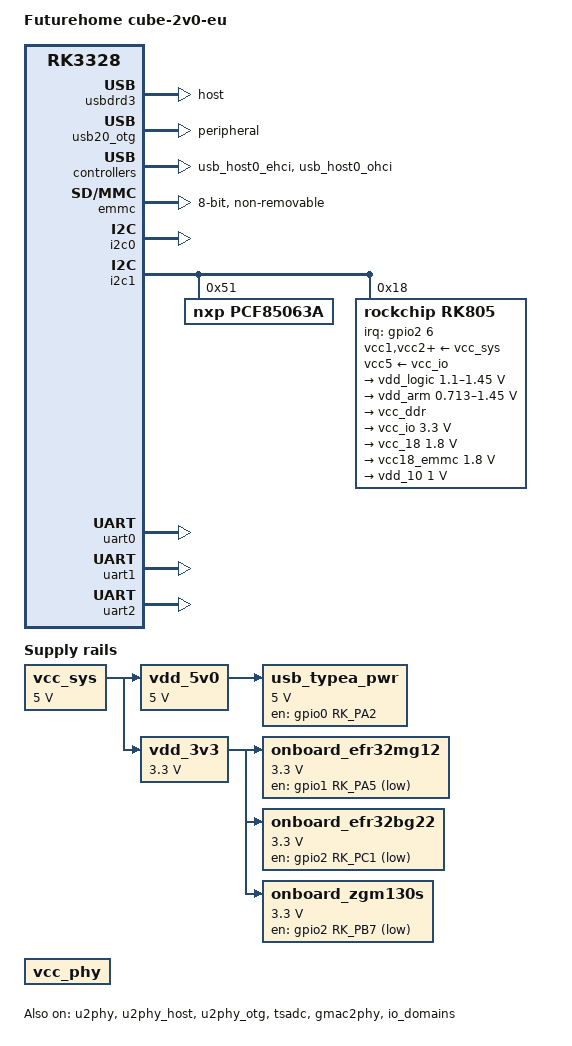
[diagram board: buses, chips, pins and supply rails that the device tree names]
// SPDX-License-Identifier: (GPL-2.0+ OR MIT)
/* Some of this file, mostly the rk808 section and some regulator definitions
 * is either borrowed from or based on free and open source works by 
 * Fuzhou Rockchip Electronics Co., Ltd and Armbian developers.
 */
/dts-v1/;
#include <dt-bindings/pinctrl/rockchip.h>
#include <dt-bindings/soc/rockchip,boot-mode.h>

#include "rk3328.dtsi"

/ {
    model = "Futurehome cube-2v0-eu";
    compatible = "futurehome,cube-2v0-eu", "rockchip,rk3328";

    aliases {
        ethernet0 = &gmac2phy;
		mmc0 = &emmc;
	};

    chosen {
		stdout-path = "serial2:1500000n8";
	};

	smbios {
		compatible = "u-boot,sysinfo-smbios";
		
        smbios {
			system {
				manufacturer = "Futurehome";
                family = "Smarthub";
				product = "cube-2v0-eu";
			};

			baseboard {
				manufacturer = "Dusun";
				product = "CDGW-001 (DSOM-010R SoM, RK3328)";
			};

			chassis {
				manufacturer = "Dusun";
				product = "DS339-1/DS339-2";
			};
		};
	};

    vcc_sys: vcc-sys {
		compatible = "regulator-fixed";
		regulator-name = "vcc_sys";
		regulator-always-on;
		regulator-boot-on;
		regulator-min-microvolt = <5000000>;
		regulator-max-microvolt = <5000000>;
	};

	vdd_5v0: vdd-5v0 {
		compatible = "regulator-fixed";
		regulator-name = "vdd_5v0";
		regulator-always-on;
		regulator-boot-on;
		regulator-min-microvolt = <5000000>;
		regulator-max-microvolt = <5000000>;
		vin-supply = <&vcc_sys>;
	};

	vdd_3v3: vdd-3v3 {
		compatible = "regulator-fixed";
		regulator-name = "vdd_3v3";
		regulator-always-on;
		regulator-boot-on;
		regulator-min-microvolt = <3300000>;
		regulator-max-microvolt = <3300000>;
		vin-supply = <&vcc_sys>;
	};

    vcc_phy: vcc-phy-regulator {
		compatible = "regulator-fixed";
		regulator-name = "vcc_phy";
		regulator-always-on;
		regulator-boot-on;
	};

	// Controls power to the dwc3/USB-A port through HM4610H IC
	usb_typea_pwr: usb-typea-regulator {
		compatible = "regulator-fixed";
		regulator-name = "usb_typea_pwr";
		enable-active-high;
		gpio = <&gpio0 RK_PA2 GPIO_ACTIVE_HIGH>;
		regulator-always-on;
		regulator-boot-on;
		vin-supply = <&vdd_5v0>;
		regulator-min-microvolt = <5000000>;
		regulator-max-microvolt = <5000000>;
	};

	onboard_efr32mg12: onboard-efr32mg12 {
		compatible = "regulator-fixed";
		regulator-name = "onboard_efr32mg12";
		vin-supply = <&vdd_3v3>;
		regulator-min-microvolt = <3300000>;
		regulator-max-microvolt = <3300000>;
		regulator-boot-on;
		regulator-always-on;
		
		// This regulator is *actually* active-high. It is just set up this
		// way as a workaround to make sure the chip is disabled by default
		// by not leaving GPIO1_PA5 floating. See/use overlay to enable the
		// chip when the kernel boots.
		gpio = <&gpio1 RK_PA5 GPIO_ACTIVE_LOW>;
		pinctrl-names = "default";
		pinctrl-0 = <&onboard_efr32mg12_unpowered>,
					<&onboard_efr32mg12_reset>,
					<&onboard_efr32mg12_pa4>;
	};

	onboard_efr32bg22: onboard-efr32bg22 {
		compatible = "regulator-fixed";
		regulator-name = "onboard_efr32bg22";
		vin-supply = <&vdd_3v3>;
		regulator-min-microvolt = <3300000>;
		regulator-max-microvolt = <3300000>;
		regulator-boot-on;
		regulator-always-on;

		// This regulator is *actually* active-high. It is just set up this
		// way as a workaround to make sure the chip is disabled by default
		// by not leaving GPIO2_PC1 floating. See/use overlay to enable the
		// chip when the kernel boots.
		gpio = <&gpio2 RK_PC1 GPIO_ACTIVE_LOW>;
		pinctrl-names = "default";
		pinctrl-0 = <&onboard_efr32bg22_unpowered>,
					<&onboard_efr32bg22_reset>;
	};

	onboard_zgm130s: onboard-zgm130s {
		compatible = "regulator-fixed";
		regulator-name = "onboard_zgm130s";
		vin-supply = <&vdd_3v3>;
		regulator-min-microvolt = <3300000>;
		regulator-max-microvolt = <3300000>;
		regulator-boot-on;
		regulator-always-on;

		// This regulator is *actually* active-high. It is just set up this
		// way as a workaround to make sure the chip is disabled by default
		// by not leaving GPIO2_PB7 floating. See/use overlay to enable the
		// chip when the kernel boots.
		gpio = <&gpio2 RK_PB7 GPIO_ACTIVE_LOW>;
		pinctrl-names = "default";
		pinctrl-0 = <&onboard_zgm130s_unpowered>,
					<&onboard_zgm130s_reset>;
	};
};

&gpio0 {
	gpio-line-names =
		/* GPIO0_A0 - A7 */
		"bottom-connector (TP38) [GPIO0_A0]", "", "USB-A power enable", "bottom-connector (TP36) [GPIO0_A3]", "", "", "", "",
		/* GPIO0_B0 - B7 */
		"", "", "", "", "", "", "", "",
		/* GPIO0_C0 - C7 */
		"", "", "", "", "", "", "", "",
		/* GPIO0_D0 - D7 */
		"", "", "", "bottom-connector (TP39) [GPIO0_D3]", "", "", "bottom-connector (TP37) [GPIO0_D6]", "";
};

&gpio1 {
	gpio-line-names =
		/* GPIO1_A0 - A7 */
		"EFR32MG12 nRESET [GPIO1_A0]", "", "", "EFR32MG12 PA4 [GPIO1_A3]", "", "EFR32MG12 power enable [GPIO1_A5]", "", "",
		/* GPIO1_B0 - B7 */
		"", "", "", "", "", "", "", "",
		/* GPIO1_C0 - C7 */
		"", "", "", "", "", "", "", "",
		/* GPIO1_D0 - D7 */
		"", "", "", "", "", "", "", "";
};

&gpio2 {
	gpio-line-names =
		/* GPIO2_A0 - A7 */
		"", "", "",
		"", "", "",
		"", "",
		/* GPIO2_B0 - B7 */
		"", "", "", "", "", "", "", "ZGM130S power enable [GPIO2_B7]",
		/* GPIO2_C0 - C7 */
		"", "EFR32BG22 power enable [GPIO2_C1]", "EFR32BG22 RESETn [GPIO2_C2]",
		"", "", "",
		"", "",
		/* GPIO2_D0 - D7 */
		"", "", "", "", "", "", "", "";
};

&gpio3 {
	gpio-line-names =
		/* GPIO3_A0 - A7 */
		"Function button [GPIO3_A0]", "", "",
		"", "", "", "", "ZGM130S RESET [GPIO3_A7]",
		/* GPIO3_B0 - B7 */
		"", "", "", "", "", "", "", "",
		/* GPIO3_C0 - C7 */
		"", "", "", "", "", "", "", "",
		/* GPIO3_D0 - D7 */
		"", "", "", "", "", "", "", "";
};


&usbdrd3 {
	dr_mode = "host";
	status = "okay";
	portpwr-supply = <&usb_typea_pwr>;
};

&u2phy {
    status = "okay";
};

&u2phy_host {
    status = "okay";
};

&u2phy_otg {
    status = "okay";
};

&usb20_otg {
    status = "okay";
	dr_mode = "peripheral";
};

&usb_host0_ehci {
    status = "okay";
};

&usb_host0_ohci {
    status = "okay";
};

&tsadc {
	status = "okay";
};

&cpu0 {
    cpu-supply = <&vdd_arm>;
};

&cpu1 {
    cpu-supply = <&vdd_arm>;
};

&cpu2 {
    cpu-supply = <&vdd_arm>;
};

&cpu3 {
    cpu-supply = <&vdd_arm>;
};

&emmc {
    bus-width = <8>;
    cap-mmc-highspeed;
    mmc-hs200-1_8v;
    disable-wp;
    non-removable;
    pinctrl-names = "default";
    pinctrl-0 = <&emmc_clk &emmc_cmd &emmc_bus8>;
    status = "okay";
};

&gmac2phy {
	phy-supply = <&vcc_phy>;
	clock_in_out = "output";
	assigned-clock-rate = <50000000>;
	assigned-clocks = <&cru SCLK_MAC2PHY>;
	assigned-clock-parents = <&cru SCLK_MAC2PHY_SRC>;
	status = "okay";
};

// Remove ethernet LED pin assignments defined in rk3328.dtsi; the smarthub does
// not have any of them. Besides, fephyled_txm1 and fephyled_linkm1 is 
// same physical pins as the I2C0 bus, resulting in conflict.
&phy {
	/delete-property/ pinctrl-names;
	/delete-property/ pinctrl-0;
};
// Get rid of all pinctrl fephyled entries in one fell swoop as gmac2phy
// only contain fephyled stuff.
&pinctrl{
	/delete-node/ gmac2phy; 
};

&i2c0 {
	status = "okay";
};

&i2c1 {
	status = "okay";

	pcf85063a: rtc@51 {
		compatible = "nxp,pcf85063a";
		reg = <0x51>;
		status = "okay";

		clock {
			compatible = "fixed-clock";
			#clock-cells = <0>;
			clock-frequency = <32768>;
		};
	};

	rk805: rk805@18 {
		status = "okay";
		compatible = "rockchip,rk805";
		reg = <0x18>;
		interrupt-parent = <&gpio2>;
		interrupts = <6 IRQ_TYPE_LEVEL_LOW>;
		#clock-cells = <1>;
		clock-output-names = "xin32k", "rk805-clkout2";
		gpio-controller;
		#gpio-cells = <2>;
		pinctrl-names = "default";
		pinctrl-0 = <&pmic_int_l>, <&pmic_sleep_l>;
		rockchip,system-power-controller;
		wakeup-source;

		vcc1-supply = <&vcc_sys>;
		vcc2-supply = <&vcc_sys>;
		vcc3-supply = <&vcc_sys>;
		vcc4-supply = <&vcc_sys>;
		vcc5-supply = <&vcc_io>;
		vcc6-supply = <&vcc_sys>;

		rtc {
			status = "disabled";
			// This only works for vendor kernels, not mainline
		};

		regulators {
			compatible = "rk805-regulator";
			status = "okay";
			#address-cells = <1>;
			#size-cells = <0>;

			vdd_logic: DCDC_REG1 {
				regulator-name = "vdd_log";
				regulator-always-on;
				regulator-boot-on;
				regulator-min-microvolt = <1100000>;
				regulator-max-microvolt = <1450000>;
				regulator-ramp-delay = <12500>;

				regulator-state-mem {
					regulator-on-in-suspend;
					regulator-suspend-microvolt = <1000000>;
				};
			};

			vdd_arm: DCDC_REG2 {
				regulator-name = "vdd_arm";
				regulator-always-on;
				regulator-boot-on;
				regulator-min-microvolt = <712500>;
				regulator-max-microvolt = <1450000>;
				regulator-ramp-delay = <12500>;

				regulator-state-mem {
					regulator-on-in-suspend;
					regulator-suspend-microvolt = <950000>;
				};
			};

			vcc_ddr: DCDC_REG3 {
				regulator-name = "vcc_ddr";
				regulator-always-on;
				regulator-boot-on;

				regulator-state-mem {
					regulator-on-in-suspend;
				};
			};

			vcc_io: DCDC_REG4 {
				regulator-name = "vcc_io";
				regulator-always-on;
				regulator-boot-on;
				regulator-min-microvolt = <3300000>;
				regulator-max-microvolt = <3300000>;

				regulator-state-mem {
					regulator-on-in-suspend;
					regulator-suspend-microvolt = <3300000>;
				};
			};

			vcc_18: LDO_REG1 {
				regulator-name = "vcc_18";
				regulator-always-on;
				regulator-boot-on;
				regulator-min-microvolt = <1800000>;
				regulator-max-microvolt = <1800000>;

				regulator-state-mem {
					regulator-on-in-suspend;
					regulator-suspend-microvolt = <1800000>;
				};
			};

			vcc18_emmc: LDO_REG2 {
				regulator-name = "vcc18_emmc";
				regulator-always-on;
				regulator-boot-on;
				regulator-min-microvolt = <1800000>;
				regulator-max-microvolt = <1800000>;

				regulator-state-mem {
					regulator-on-in-suspend;
					regulator-suspend-microvolt = <1800000>;
				};
			};

			vdd_10: LDO_REG3 {
				regulator-name = "vdd_10";
				regulator-always-on;
				regulator-boot-on;
				regulator-min-microvolt = <1000000>;
				regulator-max-microvolt = <1000000>;

				regulator-state-mem {
					regulator-on-in-suspend;
					regulator-suspend-microvolt = <1000000>;
				};
			};
		};
	};
};

&io_domains {
	pmuio-supply = <&vcc_io>;
	vccio1-supply = <&vcc_io>;
	vccio2-supply = <&vcc18_emmc>;
	vccio3-supply = <&vcc_io>;
	vccio4-supply = <&vcc_18>;
	vccio5-supply = <&vcc_io>;
	vccio6-supply = <&vcc_io>;
	status = "okay";
};


// The on-board bluetooth chip is connected to UART0
&uart0 {
	// Only use xfer pins as no RTS/CTS lines are traced out from the SoM
	pinctrl-0 = <&uart0_xfer>;
    status = "okay";
};

// The on-board Z-wave chip is connected to UART1
&uart1 {
	// Only use xfer pins as no RTS/CTS lines are traced out from the SoM
	pinctrl-0 = <&uart1_xfer>;
    status = "okay";
};

// UART2 is the debug UART.
&uart2 {
    status = "okay";
};

&gpu {
    mali-supply = <&vdd_logic>;
    status = "disabled";
};

&vpu {
	vcodec-supply = <&vdd_logic>;
	status = "disabled";
};

&grf {
	reboot-mode {
		mode-maskrom = <0xEF08A53C>;
		mode-ums = <0x5242C30C>;
	};
};

&pinctrl {
	pmic {
		pmic_int_l: pmic-int-l { 
			rockchip,pins = <2 RK_PA6 RK_FUNC_GPIO &pcfg_pull_up>;
		};

		pmic_sleep_l: pmic-sleep-l {
			rockchip,pins = <2 RK_PD2 RK_FUNC_GPIO &pcfg_pull_down>;
			// This SoM pin (PMIC_SLEEP) is not connected to anything on the board
		};
	};

	efr32bg22-pins {
		onboard_efr32bg22_powered: onboard-efr32bg22-powered {
			rockchip,pins = <2 RK_PC1 RK_FUNC_GPIO &pcfg_output_high>;
		};

		onboard_efr32bg22_unpowered: onboard-efr32bg22-unpowered {
			rockchip,pins = <2 RK_PC1 RK_FUNC_GPIO &pcfg_output_low>;
		};

		onboard_efr32bg22_reset: onboard-efr32bg22-reset {
			// Default reset line state is being pulled up by the chip
			rockchip,pins = <2 RK_PC2 RK_FUNC_GPIO &pcfg_pull_none>;
		};
	};

	efr32mg12-pins {
		onboard_efr32mg12_powered: onboard-efr32mg12-powered {
			rockchip,pins = <1 RK_PA5 RK_FUNC_GPIO &pcfg_output_high>;
		};

		onboard_efr32mg12_unpowered: onboard-efr32mg12-unpowered {
			rockchip,pins = <1 RK_PA5 RK_FUNC_GPIO &pcfg_output_low>;
		};
		
		onboard_efr32mg12_pa4: onboard-efr32mg12-pa4 {
			// Clarification: pa4 here refers to pin/pad on the efr32mg12 
			rockchip,pins = <1 RK_PA3 RK_FUNC_GPIO &pcfg_pull_none>;
		};

		onboard_efr32mg12_reset: onboard-efr32mg12-reset {
			// Default reset line state is being pulled up by the chip
			rockchip,pins = <1 RK_PA0 RK_FUNC_GPIO &pcfg_pull_none>;
		};
	};

	zgm130s-pins {
		onboard_zgm130s_powered: onboard-zgm130s-powered {
			rockchip,pins = <2 RK_PB7 RK_FUNC_GPIO &pcfg_output_high>;
		};

		onboard_zgm130s_unpowered: onboard-zgm130s-unpowered {
			rockchip,pins = <2 RK_PB7 RK_FUNC_GPIO &pcfg_output_low>;
		};

		onboard_zgm130s_reset: onboard-zgm130s-reset {
			// Default reset line state is being pulled up by the chip
			rockchip,pins = <3 RK_PA7 RK_FUNC_GPIO &pcfg_pull_none>;
		};
	};
	
	function-button {
		function_button: function_button {
			// Active-low, externally pulled up
			rockchip,pins = <3 RK_PA0 RK_FUNC_GPIO &pcfg_pull_none>;
		};
	};

};

